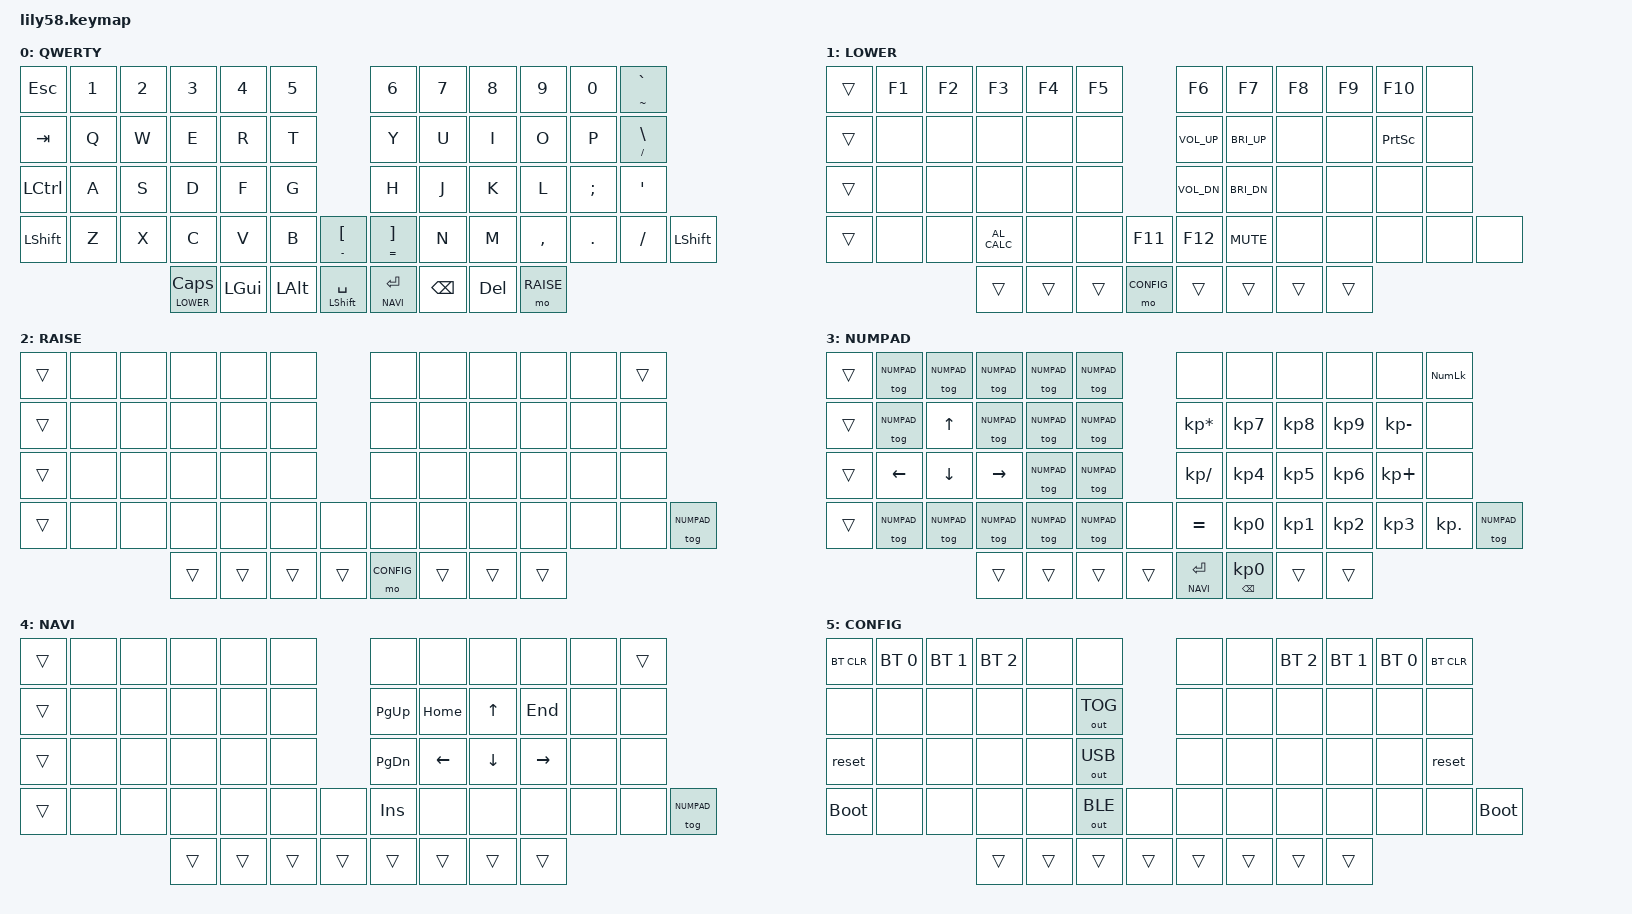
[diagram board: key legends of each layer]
/*
 * Copyright (c) 2020 The ZMK Contributors
 *
 * SPDX-License-Identifier: MIT
 */

#include <behaviors.dtsi>
#include <dt-bindings/zmk/keys.h>
#include <dt-bindings/zmk/bt.h>
#include <dt-bindings/zmk/outputs.h>
#include <dt-bindings/zmk/ext_power.h>

#define QWERTY 0
#define LOWER  1
#define RAISE  2
#define NUMPAD 3
#define NAVI   4
#define CONFIG 5

#define COMBO_TIMEOUT 30

&lt { quick_tap_ms = <200>; };
&mt { quick_tap_ms = <200>; };

/ {

	macros {
		m_mask: m_mask {
			label = "m_mask";
            compatible = "zmk,behavior-macro";
            #binding-cells = <0>;
	    wait-ms = <10>;
            tap-ms = <10>;
            bindings
                = <&macro_press &kp LSHFT>
		, <&macro_tap &kp A>
		, <&macro_release &kp LSHFT>
		, <&macro_tap &kp N>
		, <&macro_tap &kp N>
		, <&macro_press &kp LSHFT>
		, <&macro_tap &kp N2>
		, <&macro_tap &kp N7>
		, <&macro_tap &kp V>
		, <&macro_release &kp LSHFT>
		, <&macro_tap &kp L>
		, <&macro_tap &kp A>
		, <&macro_tap &kp D>
		;
		};

		m_paste: m_paste {
			label = "m_paste";
            compatible = "zmk,behavior-macro";
            #binding-cells = <0>;
            bindings
                = <&macro_press &kp LGUI>
                , <&macro_tap &kp Z &kp V>
                , <&macro_release &kp LGUI>
                ;
		};
	};

	combos {
    		compatible = "zmk,combos";
    		combo_comma_dot {
    		timeout-ms = <COMBO_TIMEOUT>;
      		key-positions = <46 47>; // [ M N , . / ]
      		bindings = <&m_mask>; 	 //       └─┴─────› mask
     		layers = <0>;
    		};

    		combo_bsps_del {
      		timeout-ms = <COMBO_TIMEOUT>;
      		key-positions = <55 56>;      //[ BS DEL RES ]
      		bindings = <&kp LC(LA(DEL))>; //  └───┴────────› CTRL+ALT+DEL
      		//layers = <0>;
    		};
	};

	keymap {
		compatible = "zmk,keymap";

		default_layer {
// --------------------------------------------------------------------------------------------------------------
// |   ESC   |  1  |  2  |  3   |  4   |  5   |                   |  6   |  7    |  8    |  9   |   0   |  `~   |
// |   TAB   |  Q  |  W  |  E   |  R   |  T   |                   |  Y   |  U    |  I    |  O   |   P   |  \ /  |
// |   CTRL  |  A  |  S  |  D   |  F   |  G   |                   |  H   |  J    |  K    |  L   |   ;   |   '   |
// |  SHIFT  |  Z  |  X  |  C   |  V   |  B   |  " - ["|  |" = ]" |  N   |  M    |  ,    |  .   |   /   | SHIFT |
//                       | LOWER|  GUI |  ALT |  SPACE |  | ENTER | BSPC |  DEL  | RAISE |
			
			label = "QWERTY";
			bindings = <
&kp ESC         &kp N1 		&kp N2		&kp N3		&kp N4   	&kp N5             				&kp N6 		&kp N7   	&kp N8    	&kp N9  	&kp N0   	&mt TILDE GRAVE
&kp TAB   	&kp Q  		&kp W  		&kp E   	&kp R    	&kp T              				&kp Y  		&kp U    	&kp I     	&kp O   	&kp P    	&mt FSLH BACKSLASH
&kp LCTL 	&kp A  		&kp S  		&kp D    	&kp F    	&kp G             				&kp H  		&kp J    	&kp K     	&kp L   	&kp SEMI 	&kp SQT
&kp LSHFT 	&kp Z  		&kp X    	&kp C           &kp V    	&kp B  		&mt MINUS LBKT  &mt EQUAL RBKT 	&kp N  		&kp M    	&kp COMMA 	&kp DOT 	&kp FSLH 	&kp LSHFT
                        			&lt LOWER CAPS  &kp LGUI 	&kp LALT	&mt LSHFT SPACE	&lt NAVI RET 	&kp BSPC 	&kp DEL 	&mo RAISE
			>;
		};

		lower_layer {
// --------------------------------------------------------------------------------------------------------------
// |   	   |  F1  |  F2  |  F3  |  F4  |  F5  |                   |  F6  |  F7   |  F8   |  F9  |  F10  |       |
// |       |      |      |      |      |      |                   | VOL+ | BRI+  |       |      | PSCRN |       |
// |       |      |      |      |      |      |                   | VOL- | BRI-  |       |      |       |       |
// |       |      |      | CALC |      |      |   F11  |  |  F12  | MUTE |       |       |      |       |       |
//                       | PUSH |      |      |        |  |       |      |       |       |
			
			label = "LOWER";
			bindings = <
&trans	 	&kp F1 		 &kp F2 	   &kp F3  	     &kp F4		&kp F5 	                 	   	  &kp F6  		&kp F7  	&kp F8  	&kp F9  	&kp F10  	&none	
&trans    	&none            &none             &none             &none  		&none                           	  &kp C_VOL_UP 	        &kp C_BRI_UP    &none           &none           &kp PSCRN    	&none
&trans    	&none            &none             &none             &none   		&none                   	 	  &kp C_VOL_DN 	        &kp C_BRI_DN    &none           &none           &none   	&none
&trans     	&none            &none             &kp C_AL_CALC     &none        	&none           &kp F11         &kp F12   &kp C_MUTE    	&none           &none           &none           &none   	&none
                                             	   &trans            &trans      	&trans    	&mo CONFIG  	&trans    &trans    		&trans    	&trans
			>;
		};
		
		raise_layer {
// --------------------------------------------------------------------------------------------------------------
// |   	   |      |      |      |      |      |                   |       |       |       |      |       |       |
// |       |      |      |      |      |      |                   |       |       |       |      |       |       |
// |   	   |      |      |      |      |      |                   |       |       |       |      |       |       |
// |   	   |      |      |      |      |      |        |  |       |       |       |       |      |       |togNUM |
//                       |      |      |      |        |  |       |       |       | PUSH  |
			
			label = "RAISE";
			bindings = <
&trans 		&none 		&none  		&none   	&none  		&none                      		&none 	 	&none 		&none 		&none  		&none	  	&trans
&trans  	&none 		&none  		&none   	&none  		&none                        		&none   	&none   	&none	  	&none   	&none	  	&none  
&trans  	&none 		&none  		&none   	&none  		&none                        		&none 	 	&none 		&none 		&none	 	&none 		&none
&trans 		&none  		&none  		&none   	&none  		&none  	   &none  	&none		&none		&none 		&none 		&none  		&none  		&tog NUMPAD
                        			&trans  	&trans 		&trans     &trans   	&mo CONFIG    	&trans      	&trans    	&trans
			>;
		};
		
		numpad_layer {
// ----------------------------------------------------------------------------------------------------------------
// |       |      |      |      |      |      |                   |      |       |       |       |       |NUMLOCK|
// |       |      |  UP  |      |      |      |                   |  *   |   7   |   8   |   9   |   -   |       |
// |       | LEFT | DOWN |RIGHT |      |      |                   |  /   |   4   |   5   |   6   |   +   |       |
// |       |      |      |      |      |      |        |  |   =   |      |   1   |   2   |   3   |   .   |       |
//                       |      |      |      |        |  | ENTER | 0/BS |  DEL  |togNUM |
			
			label = "NUMPAD";
			bindings = <
&trans 	        &tog NUMPAD 	&tog NUMPAD   	&tog NUMPAD 	&tog NUMPAD    &tog NUMPAD                      	&none  		&none 		&none  		&none   	&none  		&kp KP_NLCK 
&trans 		&tog NUMPAD 	&kp UP  	&tog NUMPAD  	&tog NUMPAD    &tog NUMPAD                     		&kp KP_ASTERISK	&kp KP_N7 	&kp KP_N8 	&kp KP_N9 	&kp KP_MINUS	&none 
&trans  	&kp LEFT 	&kp DOWN 	&kp RIGHT  	&tog NUMPAD    &tog NUMPAD                     		&kp KP_SLASH	&kp KP_N4 	&kp KP_N5 	&kp KP_N6 	&kp KP_PLUS  	&none 
&trans 		&tog NUMPAD 	&tog NUMPAD     &tog NUMPAD 	&tog NUMPAD    &tog NUMPAD     &none    &kp EQUAL       &kp KP_N0 	&kp KP_N1 	&kp KP_N2 	&kp KP_N3 	&kp KP_DOT	&tog NUMPAD
                        			&trans  	&trans 	       &trans          &trans   &lt NAVI RET  	&mt BSPC KP_N0  &trans    	&trans 
			>;

		};
		
		navi_layer {
// --------------------------------------------------------------------------------------------------------------
// |   	   |      |      |      |      |      |                   |       |       |       |      |       |       |
// |       |      |      |      |      |      |                   | PG_UP | HOME  |  UP   | END  |       |       |
// |   	   |      |      |      |      |      |                   | PG_DN | LEFT  | DOWN  |RIGHT |       |       |
// |   	   |      |      |      |      |      |        |  |INSERT |       |       |       |      |       |       |
//                       |      |      |      |        |  | PUSH  |       |       |       |
			
			label = "NAVI";
			bindings = <
&trans 		&none 		&none  		&none   	&none  		&none                      		&none 	 	&none 		&none 		&none  		&none	  	&trans
&trans  	&none 		&none  		&none   	&none  		&none                        		&kp PG_UP   	&kp HOME   	&kp UP  	&kp END   	&none   	&none  
&trans  	&none 		&none  		&none   	&none  		&none                        		&kp PG_DN   	&kp LEFT 	&kp DOWN 	&kp RIGHT 	&none	 	&none
&trans 		&none  		&none  		&none   	&none  		&none  	   &none  	&kp INSERT      &none		&none 		&none 		&none  		&none  		&tog NUMPAD
                        			&trans  	&trans 		&trans     &trans   	&trans    	&trans      	&trans    	&trans
			>;
		};
		
		comfig_layer {
// --------------------------------------------------------------------------------------------------------------
// | BTCLR |  BT1 |  BT2 |  BT3 |      |      |                   |      |       |  BT3  |  BT2  |  BT1  | BTCLR |
// |       |      |      |      |      | Togle|                   |      |       |       |       |       |       |
// | RESET |      |      |      |      | USB  |                   |      |       |       |       |       | RESET |
// | B_LOAD|      |      |      |      | BLE  |        |  |       |      |       |       |       |       | B_LOAD|
//                       | PUSH |      |      |  PUSH  |  | PUSH  |      |       |  PUSH |
			
			label = "CONFIG";
			bindings = <
&bt BT_CLR	&bt BT_SEL 0     &bt BT_SEL 1      &bt BT_SEL 2	     &none 	        &none   	             	   &none     		&none           &bt BT_SEL 2    &bt BT_SEL 1    &bt BT_SEL 0    &bt BT_CLR
&none    	&none            &none             &none             &none       	&out OUT_TOG                       &none     		&none   	&none           &none           &none      	&none
&reset     	&none            &none             &none             &none   		&out OUT_USB                  	   &none     		&none   	&none           &none           &none   	&reset
&bootloader    	&none            &none             &none             &none       	&out OUT_BLE   	&none   &none      &none     		&none   	&none           &none           &none   	&bootloader
                                             	   &trans            &trans      	&trans    	&trans  &trans     &trans    		&trans    	&trans
			>;
		};

	};
};
